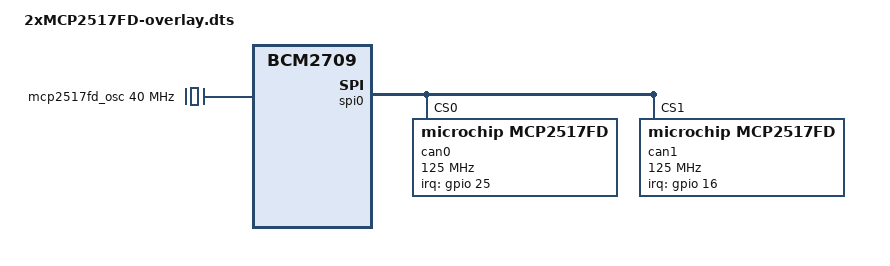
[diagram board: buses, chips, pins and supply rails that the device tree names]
/*
 * Device tree overlay for mcp2517fd/can0 on spi0.0
 */

/dts-v1/;
/plugin/;

/ {
    compatible = "brcm,bcm2835", "brcm,bcm2836", "brcm,bcm2708", "brcm,bcm2709";

    /* disable spi-dev for spi0 and spi1 */
    fragment@0 {
	target = <&spidev0>;
	__overlay__ {
            status = "disabled";
	};
    };
 
    fragment@1 {
        target = <&spidev1>;
        __overlay__ {
            status = "disabled";
        };
    };

    /* MCP2517FD INT pins */
    fragment@2 {
        target = <&gpio>;
        __overlay__ {

            mcp2517fd_int_pins: mcp2517fd_int_pins {
                brcm,pins = <25 16>;
                brcm,function = <0>; /* input */
            };
        };
    };

    /* dedicated MCP2517FD clock @40MHz */
    fragment@3 {
        target-path = "/clocks";
        __overlay__ {
            mcp2517fd_osc: mcp2517fd_osc {
                compatible = "fixed-clock";
                #clock-cells = <0>;
                clock-frequency  = <40000000>;
            };
        };
    };

    /* CAN1: SPI0 CE0, INT pin on GPIO25 */
    /* CAN2: SPI0 CE1, INT pin on GPIO16 */
    fragment@4 {
        target = <&spi0>;
        __overlay__ {
            #address-cells = <1>;
            #size-cells = <0>;
            status = "okay";

            can0: can@0 {
		compatible = "microchip,mcp2517fd";
		reg = <0>;
                clocks = <&mcp2517fd_osc>;
		spi-max-frequency = <125000000>;
		interrupt-parent = <&gpio>;
		interrupts = <25 0x8>;
            };
            can1: can@1 {
		compatible = "microchip,mcp2517fd";
		reg = <1>;
                clocks = <&mcp2517fd_osc>;
		spi-max-frequency = <125000000>;
		interrupt-parent = <&gpio>;
		interrupts = <16 0x8>;
            };
        };
    };


};
